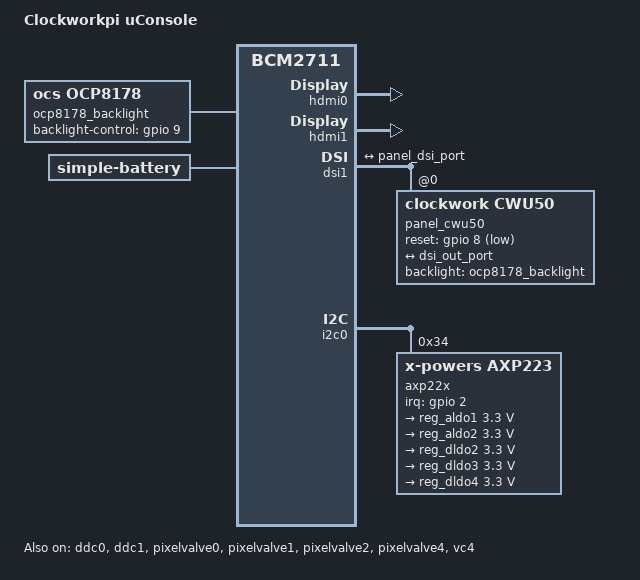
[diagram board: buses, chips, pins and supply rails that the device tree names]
// SPDX-License-Identifier: GPL-2.0
/dts-v1/;
#include "bcm2711-rpi-cm4.dtsi"
#include "bcm283x-rpi-usb-host.dtsi"

/ {
	model = "Clockworkpi uConsole ";

	ocp8178_backlight: backlight@0 {
		compatible = "ocs,ocp8178";
		backlight-control-gpios = <&gpio 9 0>;
		default-brightness = <5>;
	};

	battery: battery@0 {
		compatible = "simple-battery";
		constant_charge_current_max_microamp = <2100000>;
		voltage-min-design-microvolt = <3300000>;
	};
};

&ddc0 {
	status = "okay";
};

&ddc1 {
	status = "okay";
};

&hdmi0 {
	status = "okay";
};

&hdmi1 {
	status = "okay";
};

&pixelvalve0 {
	status = "okay";
};

&pixelvalve1 {
	status = "okay";
};

&pixelvalve2 {
	status = "okay";
};

&pixelvalve4 {
	status = "okay";
};

&vc4 {
	status = "okay";
};

&vec {
	status = "disabled";
};

&dsi1 {
  status = "okay";
	port {
		dsi_out_port: endpoint {
			remote-endpoint = <&panel_dsi_port>;
		};
	};

	panel_cwu50: panel@0 {
		compatible = "clockwork,cwu50";
		reg = <0>;
		reset-gpio = <&gpio 8 1>;
		backlight = <&ocp8178_backlight>;
		rotation = <90>;

		port {
			panel_dsi_port: endpoint {
				remote-endpoint = <&dsi_out_port>;
			};
		};
	};
};

&i2c0 {
	axp22x: pmic@34 {
		interrupt-controller;
		#interrupt-cells = <1>;
		compatible = "x-powers,axp223";
		reg = <0x34>; /* i2c address */
		interrupt-parent = <&gpio>;
		interrupts = <2 8>;  /* IRQ_TYPE_EDGE_FALLING */
		irq-gpios = <&gpio 2 0>;

		regulators {

			x-powers,dcdc-freq = <3000>;

			reg_aldo1: aldo1 {
				regulator-always-on;
				regulator-min-microvolt = <3300000>;
				regulator-max-microvolt = <3300000>;
				regulator-name = "audio-vdd";
			};

			reg_aldo2: aldo2 {
				regulator-always-on;
				regulator-min-microvolt = <3300000>;
				regulator-max-microvolt = <3300000>;
				regulator-name = "display-vcc";
			};

			reg_dldo2: dldo2 {
				regulator-always-on;
				regulator-min-microvolt = <3300000>;
				regulator-max-microvolt = <3300000>;
				regulator-name = "dldo2";
			};

			reg_dldo3: dldo3 {
				regulator-always-on;
				regulator-min-microvolt = <3300000>;
				regulator-max-microvolt = <3300000>;
				regulator-name = "dldo3";
			};

			reg_dldo4: dldo4 {
				regulator-always-on;
				regulator-min-microvolt = <3300000>;
				regulator-max-microvolt = <3300000>;
				regulator-name = "dldo4";
			};

		};

		battery_power_supply: battery-power-supply {
			compatible = "x-powers,axp221-battery-power-supply";
			monitored-battery = <&battery>;
		};

		ac_power_supply: ac_power_supply {
			compatible = "x-powers,axp221-ac-power-supply";
		};

	};
};
